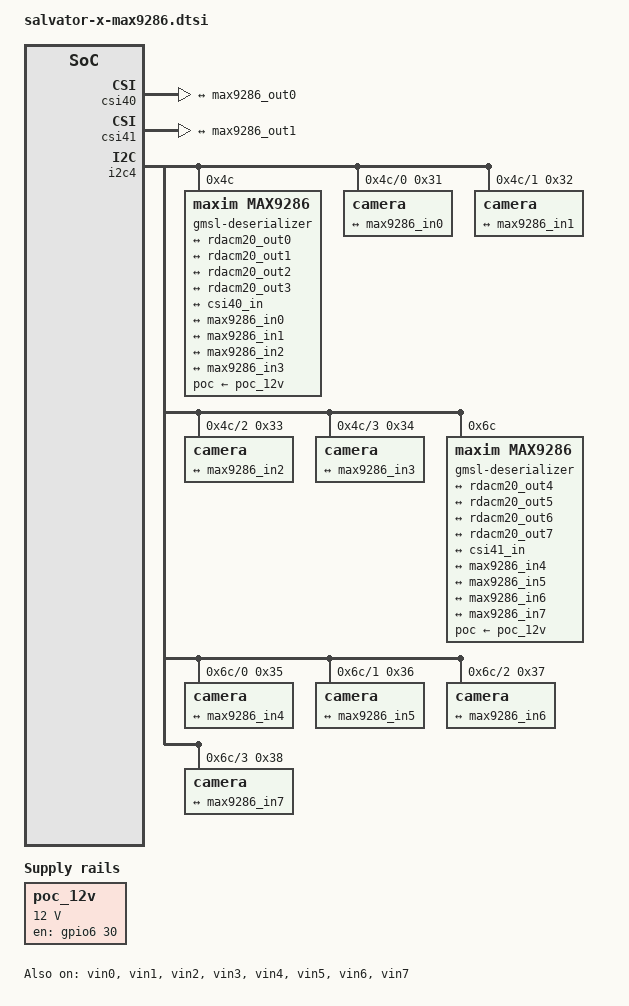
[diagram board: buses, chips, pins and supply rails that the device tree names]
// SPDX-License-Identifier: GPL-2.0+
/*
 * Device Tree Source for the Salvator-X MAX9286 expansion board
 *
 * Copyright (C) 2017 Ideas on Board <laurent.pinchart@ideasonboard.com>
 */

#include <dt-bindings/gpio/gpio.h>

/*
 * MAX9286 A
 */
#define MAXIM_CAMERA0 "imi,rdacm20"
#define MAXIM_CAMERA1 "imi,rdacm20"
#define MAXIM_CAMERA2 "imi,rdacm20"
#define MAXIM_CAMERA3 "imi,rdacm20"

/*
 * MAX9286 B
 */
#define MAXIM_CAMERA4 "imi,rdacm20"
#define MAXIM_CAMERA5 "imi,rdacm20"
#define MAXIM_CAMERA6 "imi,rdacm20"
#define MAXIM_CAMERA7 "imi,rdacm20"

/ {
/*
 * Powered MCU IMI cameras need delay between power-on and R-Car access
 * to avoid I2C bus conflicts since the R-Car I2C does not support I2C
 * multi-master. The I2C bus conflict would result in R-Car I2C IP stall.
 */
#define IMI_MCU_V0_DELAY	8000000	/* delay for powered MCU firmware v0 */
#define IMI_MCU_V1_DELAY	3000000	/* delay for powered MCU firmware v1 */
#define IMI_MCU_NO_DELAY	0	/* delay for unpowered MCU  */
#define IMI_MCU_DELAY		IMI_MCU_V0_DELAY

	poc_12v: regulator-vcc-poc-12v {
		compatible = "regulator-fixed";

		regulator-name = "Camera PoC 12V";
		regulator-min-microvolt = <12000000>;
		regulator-max-microvolt = <12000000>;
		startup-delay-us = <(250000 + IMI_MCU_DELAY)>;

		gpio = <&gpio6 30 GPIO_ACTIVE_HIGH>;
		enable-active-high;
	};
};

&vin0 {
	status = "okay";
};

&vin1 {
	status = "okay";
};

&vin2 {
	status = "okay";
};

&vin3 {
	status = "okay";
};

&vin4 {
	status = "okay";
};

&vin5 {
	status = "okay";
};

&vin6 {
	status = "okay";
};

&vin7 {
	status = "okay";
};

/* Disconnect the csi40 endpoint from the ADV748x TXA (HDMI) */
&adv7482_txa {
	/delete-property/ remote-endpoint;
	status = "disabled";
};

&csi40 {
	status = "okay";

	ports {
		#address-cells = <1>;
		#size-cells = <0>;

		port@0 {
			reg = <0>;

			csi40_in: endpoint {
				clock-lanes = <0>;
				data-lanes = <1 2 3 4>;
				remote-endpoint = <&max9286_out0>;
			};
		};
	};
};

&csi41 {
	status = "okay";

	ports {
		#address-cells = <1>;
		#size-cells = <0>;

		port@0 {
			reg = <0>;

			csi41_in: endpoint {
				clock-lanes = <0>;
				data-lanes = <1 2 3 4>;
				remote-endpoint = <&max9286_out1>;
			};
		};
	};
};

&i2c4 {
	gmsl-deserializer@4c {
		compatible = "maxim,max9286";
		reg = <0x4c>;
		poc-supply = <&poc_12v>;

		#address-cells = <1>;
		#size-cells = <0>;

		ports {
			#address-cells = <1>;
			#size-cells = <0>;

			port@0 {
				reg = <0>;
				max9286_in0: endpoint {
#ifdef MAXIM_CAMERA0
					remote-endpoint = <&rdacm20_out0>;
#endif
				};
			};

			port@1 {
				reg = <1>;
				max9286_in1: endpoint {
#ifdef MAXIM_CAMERA1
					remote-endpoint = <&rdacm20_out1>;
#endif
				};
			};

			port@2 {
				reg = <2>;
				max9286_in2: endpoint {
#ifdef MAXIM_CAMERA2
					remote-endpoint = <&rdacm20_out2>;
#endif
				};
			};

			port@3 {
				reg = <3>;
				max9286_in3: endpoint {
#ifdef MAXIM_CAMERA3
					remote-endpoint = <&rdacm20_out3>;
#endif
				};
			};

			port@4 {
				reg = <4>;
				max9286_out0: endpoint {
					clock-lanes = <0>;
					data-lanes = <1 2 3 4>;
					remote-endpoint = <&csi40_in>;
				};
			};
		};

		i2c@0 {
			#address-cells = <1>;
			#size-cells = <0>;
			reg = <0>;

#ifdef MAXIM_CAMERA0
			camera@51 {
				compatible = MAXIM_CAMERA0;
				reg = <0x31 0x41 0x51>;

				port {
					rdacm20_out0: endpoint {
						remote-endpoint = <&max9286_in0>;
					};
				};

			};
#endif
		};

		i2c@1 {
			#address-cells = <1>;
			#size-cells = <0>;
			reg = <1>;

#ifdef MAXIM_CAMERA1
			camera@52 {
				compatible = MAXIM_CAMERA1;
				reg = <0x32 0x42 0x52>;
				port {
					rdacm20_out1: endpoint {
						remote-endpoint = <&max9286_in1>;
					};
				};
			};
#endif
		};

		i2c@2 {
			#address-cells = <1>;
			#size-cells = <0>;
			reg = <2>;

#ifdef MAXIM_CAMERA2
			camera@53 {
				compatible = MAXIM_CAMERA2;
				reg = <0x33 0x43 0x53>;
				port {
					rdacm20_out2: endpoint {
						remote-endpoint = <&max9286_in2>;
					};
				};
			};
#endif
		};

		i2c@3 {
			#address-cells = <1>;
			#size-cells = <0>;
			reg = <3>;

#ifdef MAXIM_CAMERA3
			camera@54 {
				compatible = MAXIM_CAMERA3;
				reg = <0x34 0x44 0x54>;
				port {
					rdacm20_out3: endpoint {
						remote-endpoint = <&max9286_in3>;
					};
				};
			};
#endif
		};
	};

	gmsl-deserializer@6c {
		compatible = "maxim,max9286";
		reg = <0x6c>;
		poc-supply = <&poc_12v>;

		#address-cells = <1>;
		#size-cells = <0>;

		ports {
			#address-cells = <1>;
			#size-cells = <0>;

			port@0 {
				reg = <0>;
				max9286_in4: endpoint {
#ifdef MAXIM_CAMERA4
					remote-endpoint = <&rdacm20_out4>;
#endif
				};
			};

			port@1 {
				reg = <1>;
				max9286_in5: endpoint {
#ifdef MAXIM_CAMERA5
					remote-endpoint = <&rdacm20_out5>;
#endif
				};
			};

			port@2 {
				reg = <2>;
				max9286_in6: endpoint {
#ifdef MAXIM_CAMERA6
					remote-endpoint = <&rdacm20_out6>;
#endif
				};
			};

			port@3 {
				reg = <3>;
				max9286_in7: endpoint {
#ifdef MAXIM_CAMERA7
					remote-endpoint = <&rdacm20_out7>;
#endif
				};
			};

			port@4 {
				reg = <4>;
				max9286_out1: endpoint {
					clock-lanes = <0>;
					data-lanes = <1 2 3 4>;
					remote-endpoint = <&csi41_in>;
				};
			};
		};

		i2c@0 {
			#address-cells = <1>;
			#size-cells = <0>;
			reg = <0>;

#ifdef MAXIM_CAMERA4
			camera@55 {
				compatible = MAXIM_CAMERA4;
				reg = <0x35 0x45 0x55>;
				port {
					rdacm20_out4: endpoint {
						remote-endpoint = <&max9286_in4>;
					};
				};
			};
#endif
		};

		i2c@1 {
			#address-cells = <1>;
			#size-cells = <0>;
			reg = <1>;

#ifdef MAXIM_CAMERA5
			camera@56 {
				compatible = MAXIM_CAMERA5;
				reg = <0x36 0x46 0x56>;
				port {
					rdacm20_out5: endpoint {
						remote-endpoint = <&max9286_in5>;
					};
				};
			};
#endif
		};

		i2c@2 {
			#address-cells = <1>;
			#size-cells = <0>;
			reg = <2>;

#ifdef MAXIM_CAMERA6
			camera@57 {
				compatible = MAXIM_CAMERA6;
				reg = <0x37 0x47 0x57>;
				port {
					rdacm20_out6: endpoint {
						remote-endpoint = <&max9286_in6>;
					};
				};
			};
#endif
		};

		i2c@3 {
			#address-cells = <1>;
			#size-cells = <0>;
			reg = <3>;

#ifdef MAXIM_CAMERA7
			camera@59 {
				compatible = MAXIM_CAMERA7;
				reg = <0x38 0x48 0x58>;
				port {
					rdacm20_out7: endpoint {
						remote-endpoint = <&max9286_in7>;
					};
				};
			};
#endif
		};
	};
};
